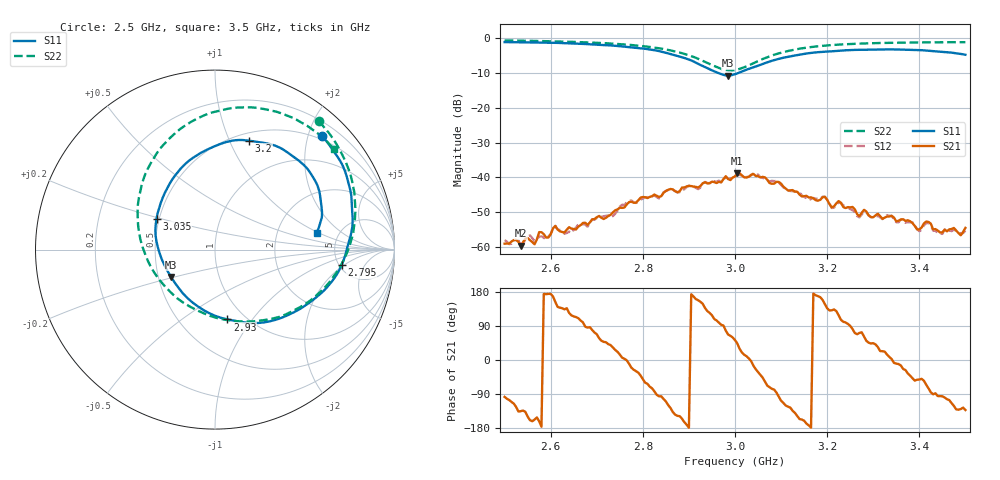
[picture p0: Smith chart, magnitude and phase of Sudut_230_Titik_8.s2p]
# Hz S RI R 50
! CMT, C1220, 16058040, 17.2.0/1
! Date: 15/08/2018 09:57:25
! Data: Format (Calibration Info)
! Freq  S11: Re/Im (F2)  S21: Re/Im (F2)  S12: Re/Im (F2)  S22: Re/Im (F2)
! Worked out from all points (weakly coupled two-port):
!   201 points, 2.5 GHz to 3.5 GHz, reference 50 ohm
!   highest |S21| = -38.77 dB at 3.005 GHz (marker M1); lowest = -59.6 dB at 2.535 GHz (marker M2)
!   lowest |S11| = -10.8 dB at 2.985 GHz (marker M3), VSWR 1.81, Z = 29.1 - j9.69 ohm
!   |S11| at or under -10 dB: 2.962 GHz to 3.009 GHz (46.09 MHz wide, 1.54 % of centre)
!   |S22| runs from -9.3 to -0.7 dB; largest |S21 - S12| = 0.00093
!   S11 on the Smith chart (normalised r, x): 2.5 GHz: 0.43, +2.26; 2.795 GHz: 5.24, -1.83; 2.93 GHz: 0.83, -0.76; 3.035 GHz: 0.48, +0.19; 3.2 GHz: 0.58, +1.19; 3.5 GHz: 3.40, +0.94
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2.5e9  0.5986 0.6313  -0.000144 -0.00111  -0.000156 -0.00126  0.5774 0.7141
2.535e9  0.6397 0.5792  -0.000744 -0.000744  -0.000733 -0.000729  0.6163 0.671
2.59e9  0.6987 0.4918  -0.00137 0.00015  -0.0013 0.000101  0.6743 0.5922
2.61e9  0.7165 0.4565  -0.0018 0.0009  -0.00183 0.000874  0.6937 0.5574
2.63e9  0.7332 0.4097  -0.00112 0.00117  -0.00092 0.00126  0.7122 0.5222
2.67e9  0.7573 0.3137  -0.00036 0.00219  -0.000172 0.00213  0.7472 0.4401
2.795e9  0.7051 -0.0866  0.00387 -0.00335  0.00357 -0.00321  0.7656 0.0749
2.835e9  0.6041 -0.2312  -0.00054 -0.00522  -0.000413 -0.00497  0.705 -0.0809
2.93e9  0.0694 -0.389  -0.007 0.00433  -0.00715 0.00395  0.2507 -0.3957
2.985e9  -0.2448 -0.1524  0.00367 0.00874  0.00346 0.00894  -0.1767 -0.2958
3e9  -0.2972 -0.0526  0.00629 0.0082  0.00668 0.00781  -0.2763 -0.2076
3.005e9  -0.3092 -0.019  0.00832 0.00796  0.00816 0.00739  -0.3054 -0.174
3.035e9  -0.3259 0.1721  0.0109 -0.000567  0.0108 -0.000412  -0.4152 0.0543
3.1e9  -0.1565 0.4855  -0.00244 -0.00777  -0.00269 -0.00734  -0.3421 0.5076
3.17e9  0.0965 0.6068  -0.005 0.000426  -0.00508 2.61e-06  -0.0739 0.7419
3.2e9  0.1907 0.6064  -0.00345 0.00329  -0.00337 0.00346  0.0384 0.7773
3.27e9  0.3807 0.557  0.000879 0.00263  0.000845 0.00253  0.2605 0.7855
3.335e9  0.508 0.4582  0.00273 0.000381  0.00281 0.000241  0.4141 0.7422
3.4e9  0.5778 0.336  0.00112 -0.0014  0.000955 -0.0014  0.5306 0.6773
3.42e9  0.5872 0.2876  0.000599 -0.00222  0.000641 -0.00214  0.5621 0.6558
3.445e9  0.595 0.2238  -0.000155 -0.00162  -0.000102 -0.00156  0.5975 0.6263
3.5e9  0.5656 0.093  -0.00127 -0.00141  -0.00127 -0.00117  0.6625 0.5597
